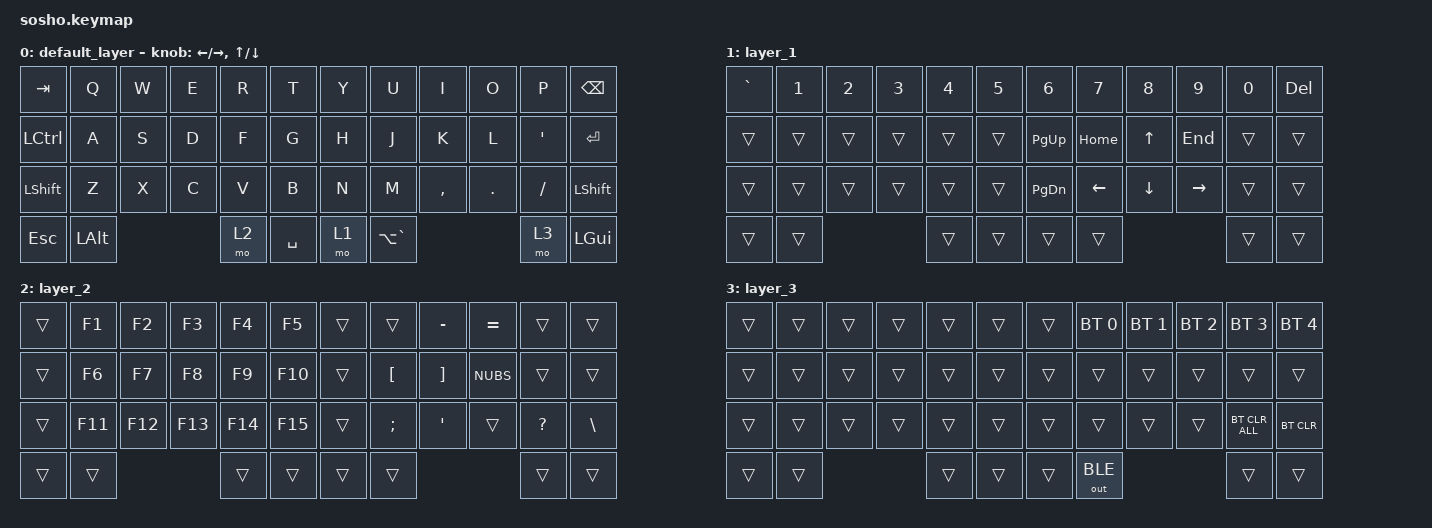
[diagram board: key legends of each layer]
#include <behaviors.dtsi>
#include <dt-bindings/zmk/bt.h>
#include <dt-bindings/zmk/keys.h>
#include <dt-bindings/zmk/pointing.h>
#include <dt-bindings/zmk/outputs.h>

/{
    combos {
        compatible = "zmk,combos";
		//左クリックのコンボ 19はJのキー 20はKのキーに相当します。
	    combo_LCLK {
            timeout-ms = <50>;
            key-positions = <19 20>;
            bindings = <&mkp LCLK>;
        };

		//右クリックのコンボ 20 K 21 L
        combo_RCLK {
            timeout-ms = <50>;
            key-positions = <20 21>;
            bindings = <&mkp RCLK>;
        };

		//ホイールクリックのコンボ 19 J 21 L
	    combo_MCLK {
            timeout-ms = <90>;
            key-positions = <19 21>;
            bindings = <&mkp MCLK>;
        };

    };
};

/{
keymap {
    compatible = "zmk,keymap";

    default_layer {
        bindings = <
            &kp TAB    &kp Q   &kp W  &kp E  &kp R  &kp T      &kp Y  &kp U  &kp I      &kp O    &kp P     &kp BSPC
            &kp LCTRL  &kp A   &kp S  &kp D  &kp F  &kp G      &kp H  &kp J  &kp K      &kp L    &kp SQT   &kp ENTER
            &kp LSHFT  &kp Z   &kp X  &kp C  &kp V  &kp B      &kp N  &kp M  &kp COMMA  &kp DOT  &kp SLASH &kp LSHFT
            &kp ESC    &kp LALT              &mo 2  &kp SPACE  &mo 1  &kp LA(GRAVE)              &mo 3     &kp LGUI
        >;
        sensor-bindings = <&inc_dec_kp LEFT RIGHT &inc_dec_kp UP DOWN>;
    };
	
    layer_1 {
        bindings = <
            &kp GRAVE &kp N1  &kp N2  &kp N3  &kp N4  &kp N5       &kp N6    &kp N7   &kp N8   &kp N9    &kp N0 &kp DEL
            &trans    &trans &trans &trans &trans &trans           &kp PG_UP &kp HOME &kp UP   &kp END   &trans &trans
            &trans    &trans &trans &trans &trans &trans           &kp PG_DN &kp LEFT &kp DOWN &kp RIGHT &trans &trans
            &trans    &trans               &trans &trans           &trans    &trans                      &trans &trans
        >;
    };

    layer_2 {
        bindings = <
            &trans &kp F1  &kp F2  &kp F3  &kp F4  &kp F5     &trans  &trans    &kp MINUS &kp EQUAL &trans     &trans
            &trans &kp F6  &kp F7  &kp F8  &kp F9  &kp F10    &trans  &kp LBKT  &kp RBKT  &kp NUBS  &trans     &trans
            &trans &kp F11 &kp F12 &kp F13 &kp F14 &kp F15    &trans  &kp SEMI  &kp SQT   &trans    &kp QMARK  &kp BSLH
            &trans &trans                  &trans  &trans     &trans  &trans                        &trans     &trans
        >;
    };

    layer_3 {
        bindings = <
            &trans &trans &trans &trans &trans &trans      &trans  &bt BT_SEL 0  &bt BT_SEL 1  &bt BT_SEL 2  &bt BT_SEL 3   &bt BT_SEL 4
            &trans &trans &trans &trans &trans &trans      &trans  &trans        &trans        &trans        &trans         &trans
            &trans &trans &trans &trans &trans &trans      &trans  &trans        &trans        &trans        &bt BT_CLR_ALL &bt BT_CLR
            &trans &trans               &trans &trans      &trans  &out OUT_BLE                                    &trans         &trans
        >;
    };
    scroll {
        status = "reserved";
    };

    extra2 {
        status = "reserved";
    };
};
};
